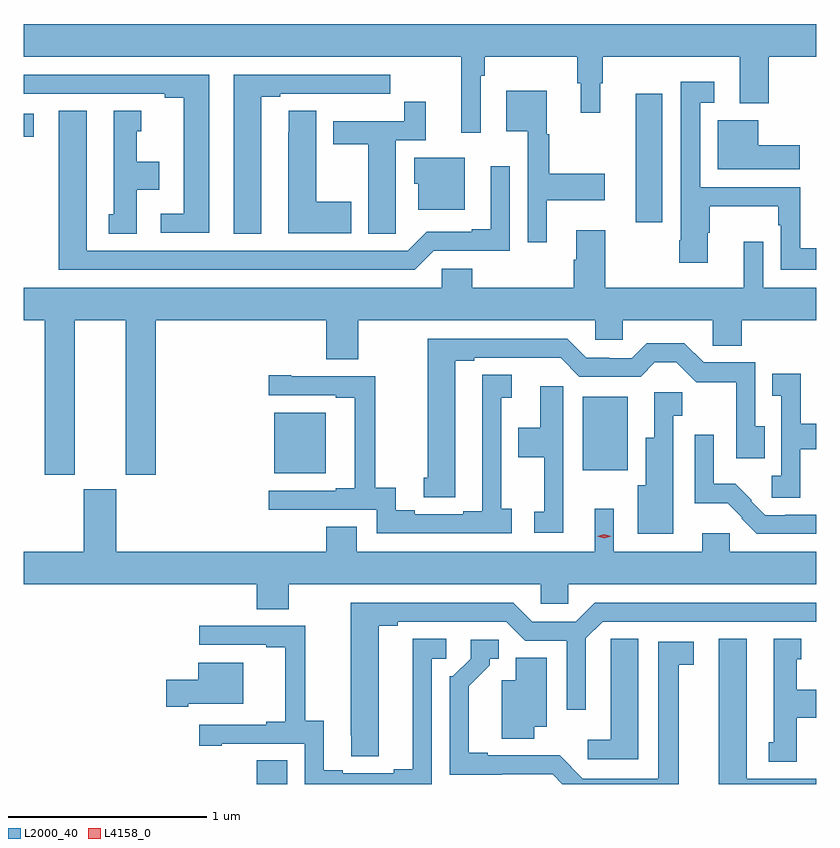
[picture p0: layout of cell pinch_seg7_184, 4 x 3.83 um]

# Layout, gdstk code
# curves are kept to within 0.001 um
import gdstk
lib = gdstk.Library(unit=1e-6, precision=1e-09)
def R(c, l, rs):  # rectangles x0, y0, x1, y1
    for r in rs: c.add(gdstk.rectangle(r[:2], r[2:], *l))
def P(c, l, *ps):  # polygons
    for p in ps: c.add(gdstk.Polygon(p, *l))
L2000_40 = (2000, 40)
L4158_0 = (4158, 0)

pinch_seg7_184 = lib.new_cell('pinch_seg7_184')
R(pinch_seg7_184, L2000_40, [(1089.845,1034.241,1089.997,1034.36), (1089.932,1035.809,1090.192,1036.114), (1091.489,1035.824,1091.716,1036.195), (1091.756,1037.076,1091.89,1037.725), (1088.668,1037.506,1088.719,1037.622)])
P(pinch_seg7_184, L2000_40, [(1090.974,1037.816),(1090.994,1037.816),(1090.994,1037.912),(1091.461,1037.912),(1091.461,1037.778),(1091.48,1037.778),(1091.48,1037.628),(1091.578,1037.628),(1091.578,1037.778),(1091.59,1037.778),(1091.59,1037.912),(1092.281,1037.912),(1092.281,1037.675),(1092.429,1037.675),(1092.429,1037.912),(1092.668,1037.912),(1092.668,1038.076),(1088.668,1038.076),(1088.668,1037.912),(1090.877,1037.912),(1090.877,1037.526),(1090.974,1037.526)],
  [(1089.604,1037.82),(1088.668,1037.82),(1088.668,1037.724),(1089.38,1037.724),(1089.38,1037.704),(1089.476,1037.704),(1089.476,1037.118),(1089.36,1037.118),(1089.36,1037.022),(1089.604,1037.022)],
  [(1089.868,1037.709),(1089.964,1037.709),(1089.964,1037.724),(1090.24,1037.724),(1090.24,1037.723),(1090.406,1037.723),(1090.406,1037.724),(1090.519,1037.724),(1090.519,1037.82),(1089.728,1037.82),(1089.728,1037.017),(1089.868,1037.017)],
  [(1092.668,1036.945),(1092.586,1036.945),(1092.586,1037.253),(1092.081,1037.253),(1092.081,1037.679),(1092.154,1037.679),(1092.154,1037.785),(1091.985,1037.785),(1091.985,1036.984),(1091.977,1036.984),(1091.977,1036.872),(1092.121,1036.872),(1092.121,1037.022),(1092.129,1037.022),(1092.129,1037.156),(1092.477,1037.156),(1092.477,1037.06),(1092.489,1037.06),(1092.489,1036.836),(1092.668,1036.836)],
  [(1091.308,1037.186),(1091.599,1037.186),(1091.599,1037.321),(1091.32,1037.321),(1091.32,1037.52),(1091.308,1037.52),(1091.308,1037.74),(1091.102,1037.74),(1091.102,1037.534),(1091.211,1037.534),(1091.211,1036.974),(1091.308,1036.974)],
  [(1090.545,1037.128),(1090.546,1037.128),(1090.546,1037.49),(1090.697,1037.49),(1090.697,1037.683),(1090.588,1037.683),(1090.588,1037.586),(1090.229,1037.586),(1090.229,1037.47),(1090.406,1037.47),(1090.406,1037.017),(1090.545,1037.017)],
  [(1090.321,1037.18),(1090.144,1037.18),(1090.144,1037.639),(1090.005,1037.639),(1090.005,1037.531),(1090.004,1037.531),(1090.004,1037.021),(1090.321,1037.021)],
  [(1090.737,1036.932),(1091.121,1036.932),(1091.121,1037.359),(1091.024,1037.359),(1091.024,1037.041),(1090.928,1037.041),(1090.928,1037.028),(1090.701,1037.028),(1090.605,1036.932),(1088.986,1036.932),(1088.986,1037.638),(1088.846,1037.638),(1088.846,1036.836),(1090.641,1036.836)],
  [(1089.238,1037.24),(1089.352,1037.24),(1089.352,1037.38),(1089.238,1037.38),(1089.238,1037.535),(1089.262,1037.535),(1089.262,1037.638),(1089.122,1037.638),(1089.122,1037.115),(1089.098,1037.115),(1089.098,1037.017),(1089.238,1037.017)],
  [(1092.583,1037.464),(1092.376,1037.464),(1092.376,1037.59),(1092.17,1037.59),(1092.17,1037.342),(1092.583,1037.342)],
  [(1090.894,1037.401),(1090.64,1037.401),(1090.64,1037.271),(1090.658,1037.271),(1090.658,1037.138),(1090.894,1037.138)],
  [(1088.926,1036.58),(1089.182,1036.58),(1089.182,1035.801),(1089.335,1035.801),(1089.335,1036.58),(1090.196,1036.58),(1090.196,1036.384),(1090.356,1036.384),(1090.356,1036.58),(1091.553,1036.58),(1091.553,1036.482),(1091.691,1036.482),(1091.691,1036.58),(1092.144,1036.58),(1092.144,1036.453),(1092.291,1036.453),(1092.291,1036.58),(1092.668,1036.58),(1092.668,1036.744),(1092.399,1036.744),(1092.399,1036.978),(1092.302,1036.978),(1092.302,1036.744),(1091.604,1036.744),(1091.604,1037.035),(1091.456,1037.035),(1091.456,1036.886),(1091.444,1036.886),(1091.444,1036.744),(1090.931,1036.744),(1090.931,1036.842),(1090.779,1036.842),(1090.779,1036.744),(1088.668,1036.744),(1088.668,1036.58),(1088.774,1036.58),(1088.774,1035.801),(1088.926,1035.801)],
  [(1090.845,1035.796),(1090.846,1036.377),(1090.942,1036.377),(1090.942,1036.392),(1091.377,1036.391),(1091.472,1036.296),(1091.781,1036.296),(1091.852,1036.368),(1091.962,1036.368),(1092.062,1036.267),(1092.264,1036.267),(1092.264,1035.885),(1092.407,1035.885),(1092.407,1036.046),(1092.36,1036.046),(1092.36,1036.368),(1092.099,1036.368),(1092.002,1036.465),(1091.812,1036.465),(1091.736,1036.389),(1091.624,1036.389),(1091.624,1036.392),(1091.508,1036.392),(1091.412,1036.488),(1090.706,1036.488),(1090.706,1035.786),(1090.688,1035.786),(1090.688,1035.688),(1090.845,1035.688)],
  [(1092.588,1035.93),(1092.668,1035.93),(1092.668,1036.058),(1092.589,1036.058),(1092.589,1036.312),(1092.445,1036.312),(1092.445,1036.199),(1092.492,1036.199),(1092.492,1035.796),(1092.443,1035.796),(1092.443,1035.685),(1092.588,1035.685)],
  [(1091.131,1035.631),(1091.079,1035.631),(1091.079,1036.189),(1091.131,1036.189),(1091.131,1036.307),(1090.983,1036.307),(1090.983,1036.199),(1090.982,1036.199),(1090.982,1035.618),(1090.886,1035.618),(1090.886,1035.603),(1090.642,1035.603),(1090.642,1035.622),(1090.546,1035.622),(1090.546,1035.736),(1090.442,1035.736),(1090.442,1036.299),(1090.018,1036.299),(1090.018,1036.304),(1089.906,1036.304),(1089.906,1036.203),(1090.244,1036.203),(1090.244,1036.191),(1090.34,1036.191),(1090.34,1035.733),(1090.244,1035.733),(1090.244,1035.72),(1089.906,1035.72),(1089.906,1035.624),(1090.449,1035.624),(1090.449,1035.507),(1091.131,1035.507)],
  [(1091.392,1036.249),(1091.276,1036.249),(1091.276,1036.038),(1091.164,1036.038),(1091.164,1035.89),(1091.294,1035.89),(1091.294,1035.615),(1091.244,1035.615),(1091.244,1035.51),(1091.392,1035.51)],
  [(1091.947,1036.099),(1091.991,1036.099),(1091.991,1036.218),(1091.849,1036.218),(1091.849,1035.988),(1091.807,1035.988),(1091.807,1035.748),(1091.768,1035.748),(1091.768,1035.503),(1091.947,1035.503)],
  [(1092.668,1035.6),(1092.511,1035.6),(1092.511,1035.597),(1092.411,1035.597),(1092.339,1035.669),(1092.342,1035.672),(1092.259,1035.755),(1092.15,1035.755),(1092.15,1036.003),(1092.054,1036.003),(1092.054,1035.657),(1092.22,1035.657),(1092.293,1035.584),(1092.29,1035.581),(1092.368,1035.504),(1092.668,1035.504)],
  [(1090.348,1035.539),(1090.196,1035.539),(1090.196,1035.412),(1089.136,1035.412),(1089.136,1035.729),(1088.972,1035.729),(1088.972,1035.412),(1088.668,1035.412),(1088.668,1035.248),(1089.845,1035.248),(1089.845,1035.124),(1090.005,1035.124),(1090.005,1035.248),(1091.277,1035.248),(1091.277,1035.15),(1091.415,1035.15),(1091.415,1035.248),(1092.668,1035.248),(1092.668,1035.412),(1092.231,1035.412),(1092.231,1035.507),(1092.092,1035.507),(1092.092,1035.412),(1091.646,1035.412),(1091.646,1035.631),(1091.549,1035.631),(1091.549,1035.412),(1090.348,1035.412)],
  [(1090.459,1035.04),(1090.555,1035.04),(1090.555,1035.06),(1091.103,1035.06),(1091.199,1034.964),(1091.409,1034.964),(1091.409,1034.616),(1091.505,1034.616),(1091.505,1034.976),(1091.589,1035.06),(1092.668,1035.06),(1092.668,1035.156),(1091.549,1035.156),(1091.453,1035.06),(1091.235,1035.06),(1091.139,1035.156),(1090.319,1035.156),(1090.32,1034.38),(1090.459,1034.38)],
  [(1090.728,1034.874),(1090.801,1034.874),(1090.801,1034.975),(1090.631,1034.975),(1090.631,1034.315),(1090.535,1034.315),(1090.535,1034.295),(1090.279,1034.295),(1090.279,1034.31),(1090.183,1034.31),(1090.183,1034.561),(1090.089,1034.561),(1090.089,1035.039),(1089.555,1035.039),(1089.555,1034.943),(1089.893,1034.943),(1089.893,1034.93),(1089.989,1034.93),(1089.989,1034.554),(1089.893,1034.554),(1089.893,1034.541),(1089.555,1034.541),(1089.555,1034.433),(1089.667,1034.433),(1089.667,1034.445),(1090.086,1034.445),(1090.086,1034.241),(1090.728,1034.241)],
  [(1091.77,1034.975),(1091.631,1034.975),(1091.631,1034.867),(1091.63,1034.867),(1091.63,1034.464),(1091.514,1034.464),(1091.514,1034.367),(1091.77,1034.367)],
  [(1092.568,1034.576),(1092.668,1034.576),(1092.668,1034.716),(1092.568,1034.716),(1092.568,1034.871),(1092.592,1034.871),(1092.592,1034.974),(1092.452,1034.974),(1092.452,1034.451),(1092.428,1034.451),(1092.428,1034.353),(1092.568,1034.353)],
  [(1092.668,1034.268),(1092.316,1034.268),(1092.316,1034.974),(1092.176,1034.974),(1092.176,1034.241),(1092.668,1034.241)],
  [(1091.974,1034.842),(1092.049,1034.842),(1092.049,1034.958),(1091.87,1034.958),(1091.87,1034.268),(1091.49,1034.268),(1091.372,1034.386),(1091.011,1034.385),(1091.011,1034.398),(1090.915,1034.398),(1090.915,1034.734),(1091.02,1034.839),(1091.02,1034.874),(1091.065,1034.874),(1091.065,1034.97),(1090.923,1034.97),(1090.923,1034.874),(1090.833,1034.784),(1090.818,1034.784),(1090.818,1034.288),(1091.337,1034.289),(1091.385,1034.241),(1091.974,1034.241)],
  [(1091.245,1034.531),(1091.308,1034.531),(1091.308,1034.879),(1091.15,1034.879),(1091.15,1034.764),(1091.081,1034.764),(1091.081,1034.47),(1091.245,1034.47)],
  [(1089.499,1034.645),(1089.775,1034.645),(1089.775,1034.854),(1089.548,1034.854),(1089.548,1034.767),(1089.387,1034.767),(1089.387,1034.632),(1089.499,1034.632)])
P(pinch_seg7_184, L4158_0, [(1091.598,1035.482),(1091.563,1035.492),(1091.562,1035.492),(1091.563,1035.492),(1091.598,1035.502),(1091.633,1035.491),(1091.633,1035.491),(1091.633,1035.491)])

lib.write_gds('pinch_seg7_184.gds')
